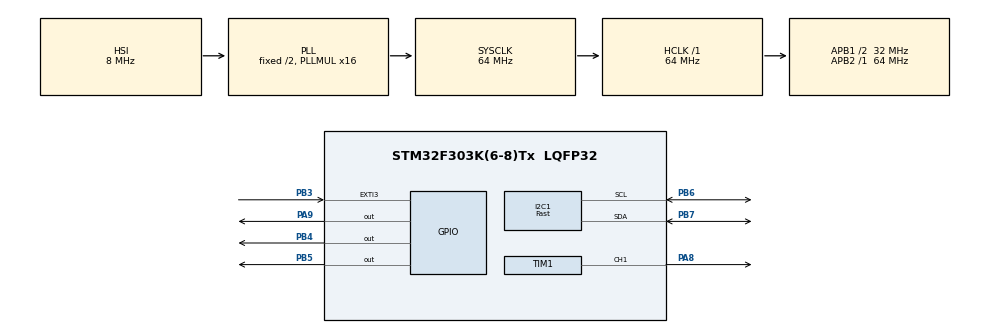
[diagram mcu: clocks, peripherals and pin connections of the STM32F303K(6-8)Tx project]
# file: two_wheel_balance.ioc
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Dma.I2C1_RX.1.Direction=DMA_PERIPH_TO_MEMORY
Dma.I2C1_RX.1.Instance=DMA1_Channel3
Dma.I2C1_RX.1.MemDataAlignment=DMA_MDATAALIGN_BYTE
Dma.I2C1_RX.1.MemInc=DMA_MINC_ENABLE
Dma.I2C1_RX.1.Mode=DMA_NORMAL
Dma.I2C1_RX.1.PeriphDataAlignment=DMA_PDATAALIGN_BYTE
Dma.I2C1_RX.1.PeriphInc=DMA_PINC_DISABLE
Dma.I2C1_RX.1.Priority=DMA_PRIORITY_LOW
Dma.I2C1_TX.0.Direction=DMA_MEMORY_TO_PERIPH
Dma.I2C1_TX.0.Instance=DMA1_Channel4
Dma.I2C1_TX.0.MemDataAlignment=DMA_MDATAALIGN_BYTE
Dma.I2C1_TX.0.MemInc=DMA_MINC_ENABLE
Dma.I2C1_TX.0.Mode=DMA_NORMAL
Dma.I2C1_TX.0.PeriphDataAlignment=DMA_PDATAALIGN_BYTE
Dma.I2C1_TX.0.PeriphInc=DMA_PINC_DISABLE
Dma.I2C1_TX.0.Priority=DMA_PRIORITY_LOW
Dma.Request0=I2C1_TX
Dma.Request1=I2C1_RX
Dma.Request2=TIM1_CH1
Dma.TIM1_CH1.2.Direction=DMA_PERIPH_TO_MEMORY
Dma.TIM1_CH1.2.Instance=DMA1_Channel2
Dma.TIM1_CH1.2.MemDataAlignment=DMA_MDATAALIGN_HALFWORD
Dma.TIM1_CH1.2.MemInc=DMA_MINC_ENABLE
Dma.TIM1_CH1.2.Mode=DMA_CIRCULAR
Dma.TIM1_CH1.2.PeriphDataAlignment=DMA_PDATAALIGN_HALFWORD
Dma.TIM1_CH1.2.PeriphInc=DMA_PINC_DISABLE
Dma.TIM1_CH1.2.Priority=DMA_PRIORITY_LOW
I2C1.I2C_Speed_Mode=I2C_Fast
I2C1.Timing=0x0010020A
Mcu.Family=STM32F3
Mcu.Name=STM32F303K(6-8)Tx
Mcu.Package=LQFP32
NVIC.DMA1_Channel2_IRQn=true\:0\:0\:false\:false\:true\:false\:true\:true
NVIC.DMA1_Channel3_IRQn=true\:0\:0\:false\:false\:true\:false\:true\:true
NVIC.DMA1_Channel4_IRQn=true\:0\:0\:false\:false\:true\:false\:true\:true
NVIC.EXTI3_IRQn=true\:0\:0\:false\:false\:true\:true\:true\:true
NVIC.I2C1_EV_IRQn=true\:0\:0\:false\:false\:true\:true\:true\:true
NVIC.PriorityGroup=NVIC_PRIORITYGROUP_4
PA13.Mode=Serial_Wire
PA13.Signal=SYS_JTMS-SWDIO
PA14.Mode=Serial_Wire
PA14.Signal=SYS_JTCK-SWCLK
PA8.Signal=S_TIM1_CH1
PA9.Signal=GPIO_Output
PB3.Signal=GPXTI3
PB4.Signal=GPIO_Output
PB5.Signal=GPIO_Output
PB6.GPIO_Pu=GPIO_PULLUP
PB6.Mode=I2C
PB6.Signal=I2C1_SCL
PB7.GPIO_Pu=GPIO_PULLUP
PB7.Mode=I2C
PB7.Signal=I2C1_SDA
ProjectManager.HeapSize=0x200
ProjectManager.StackSize=0x400
ProjectManager.TargetToolchain=STM32CubeIDE
RCC.AHBFreq_Value=64000000
RCC.APB1CLKDivider=RCC_HCLK_DIV2
RCC.APB1Freq_Value=32000000
RCC.APB1TimFreq_Value=64000000
RCC.APB2Freq_Value=64000000
RCC.APB2TimFreq_Value=64000000
RCC.CortexFreq_Value=64000000
RCC.HCLKFreq_Value=64000000
RCC.HSE_VALUE=8000000
RCC.HSI_VALUE=8000000
RCC.PLLMUL=RCC_PLL_MUL16
RCC.SYSCLKFreq_VALUE=64000000
RCC.SYSCLKSourceVirtual=RCC_SYSCLKSOURCE_PLLCLK
SH.S_TIM1_CH1.0=TIM1_CH1,PWM Generation1 CH1
TIM1.Channel-PWM\ Generation1\ CH1=TIM_CHANNEL_1
TIM1.Period=999
TIM1.Prescaler=3
board=custom

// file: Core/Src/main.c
/* USER CODE BEGIN Header */
/**
 ******************************************************************************
 * @file           : main.c
 * @brief          : Main program body
 ******************************************************************************
 * @attention
 *
 * Copyright (c) 2025 STMicroelectronics.
 * All rights reserved.
 *
 * This software is licensed under terms that can be found in the LICENSE file
 * in the root directory of this software component.
 * If no LICENSE file comes with this software, it is provided AS-IS.
 *
 ******************************************************************************
 */
/* USER CODE END Header */
#include "main.h"

/* USER CODE BEGIN Includes */
#include <string.h>
#include <stdlib.h>
#include <math.h>
#include <stm32f3xx_hal_cortex.h>
#include "arm_math.h"
/* USER CODE END Includes */

/* USER CODE BEGIN PTD */
typedef struct
{ //struct to extract and organize sensor readings. Interestingly enough, having the struct seems to make code
//faster because these variables are in contiguous blocks of memory.

	//buffers to extract data from sensor with i2c interface
	uint8_t accel_x_buf[2]; //extracting data without FIFO to compare results with FIFO
	uint8_t accel_y_buf[2];
	uint8_t accel_z_buf[2];
	uint8_t gyro_x_buf[2];
	uint8_t gyro_y_buf[2];
	uint8_t gyro_z_buf[2];

	//raw data from mpu6050 sensor, every 4096 counts is 1g when using +/- 8g mode (which we are using for this project in particular).
	int16_t accel_x;
	int16_t accel_y;
	int16_t accel_z;
	int16_t gyro_x;
	int16_t gyro_y;
	int16_t gyro_z;

	//processed data calculated from raw values, not as accurate as the kalman_angle from kalman filter
	float32_t yaw; //euler angles in degrees
	float32_t pitch;
	float32_t roll;

	float32_t wx; //angular velocities
	float32_t wy;
	float32_t wz;
} mpu6050_sensor_data;

typedef struct
{
	//struct to store data and calculations used in kalman filter

	//state space matrices
	float32_t matrix_A[4][4]; //state transition matrix
	float32_t matrix_B[4][1];
	float32_t matrix_xp[4][1];	//euler parameters (quaternion), the predicted state of the system
	float32_t matrix_x[4][1]; //state of kalman filter, used to output final filtered measurement of kalman filter

	float32_t matrix_H[4][4]; //observation matrix, how x matrix (the state) relates to the output/measurement z
	float32_t matrix_z[4][1]; //combined measured output of kalman filter and accelerometer tilt data

	float32_t matrix_Q[4][4]; //covariance matrix of process noise/disturbance
	float32_t matrix_R[4][4]; //covariance matrix of measurement noise
	float32_t matrix_Pp[4][4]; //predicted error covariance
	float32_t matrix_P[4][4]; //estimated error covariance

	float32_t matrix_K[4][4]; //Kalman gain

	//arm instances
	arm_matrix_instance_f32 matrix_A_arm;
	arm_matrix_instance_f32 matrix_B_arm;
	arm_matrix_instance_f32 matrix_xp_arm;
	arm_matrix_instance_f32 matrix_x_arm;
	arm_matrix_instance_f32 matrix_H_arm;
	arm_matrix_instance_f32 matrix_z_arm;
	arm_matrix_instance_f32 matrix_Q_arm;
	arm_matrix_instance_f32 matrix_R_arm;
	arm_matrix_instance_f32 matrix_Pp_arm;
	arm_matrix_instance_f32 matrix_P_arm;
	arm_matrix_instance_f32 matrix_K_arm;

	//euler angles, measurements used to fill z matrix in later on, which is used in kalman estimation step
	float32_t yaw_z;
	float32_t pitch_z;
	float32_t roll_z;

	//euler angles, output of kalman filter, should be more accurate than yaw, pitch, roll of sensor_data
	float32_t kalman_yaw;
	float32_t kalman_pitch;
	float32_t kalman_roll;

} kalman_filter;
typedef struct
{
	//cannot set values here since no memory allocated in declaration
	float Ts; //sampling time
	float proportional_gain;
	float integral_gain;
	float derivative_gain;

	float tau; // 1/(cutoff frequency of low pass filter after derivative component)

	float proportional_out;
	float integral_out;
	float derivative_out;

	float32_t error; //error is signed
	float32_t measured_pos;

	float total_out;
	float out_max;
	float out_min;
} pid_controller;
/* USER CODE END PTD */

/* USER CODE BEGIN PD */
//for I2C
#define MPU6050_ADDR_LSL1	0xD0

//for PID
#define SENSOR_HISTORY_LEN	3 //PID only needs 3 max since it is at most second order
/* USER CODE END PD */

I2C_HandleTypeDef hi2c1;
DMA_HandleTypeDef hdma_i2c1_tx;
DMA_HandleTypeDef hdma_i2c1_rx;

TIM_HandleTypeDef htim1;
DMA_HandleTypeDef hdma_tim1_ch1;

/* USER CODE BEGIN PV */
uint8_t i2c_RX_done = 0;
uint8_t i2c_TX_done = 0;
uint8_t data_ready = 0; //accelerometer data ready interrupt

uint8_t receive_buffer[20]; //received message buffer, randomly used

const float32_t dt = .004;

//setup storage for data
mpu6050_sensor_data sensor_data_1;
kalman_filter filter1;

//setup PID controller
pid_controller motor_controller;

//initialize pitch in degrees
float32_t pitch_adjusted_in_degrees = 0; //upright position will be 90 degrees instead of 0
/* USER CODE END PV */

void SystemClock_Config(void);
static void MX_GPIO_Init(void);
static void MX_DMA_Init(void);
static void MX_I2C1_Init(void);
static void MX_TIM1_Init(void);
/* USER CODE BEGIN PFP */
HAL_StatusTypeDef i2c_Write_Accelerometer(I2C_HandleTypeDef *hi2c, uint16_t DevAddress, uint8_t MemAddress, uint8_t *pData, uint16_t len); // <-- Add this line here
HAL_StatusTypeDef i2c_Read_Accelerometer(I2C_HandleTypeDef *hi2c, uint16_t DevAddress, uint8_t regAddress, uint8_t *pData, uint16_t len);

//functions that communicate to the physical sensor using i2c interface
void mpu6050_init(I2C_HandleTypeDef *hi2c);
void mpu6050_get_raw_measurements(I2C_HandleTypeDef *hi2c, mpu6050_sensor_data *sensor_data);

//functions that modify sensor_data instances
void sensor_data_init(mpu6050_sensor_data *sensor_data); //sets yaw, pitch, roll to 0, 0, 0
void calc_accelerometer_tilt(mpu6050_sensor_data *sensor_data); //changes pitch and roll according to accelerometer tilt. Basically injects accelerometer data into kalman filter.

//modifies kalman filter instances
void kalman_filter_init(kalman_filter *filter); //sets initial kalman filter yaw, pitch, roll outputs to 0, 0, 0
void get_kalman_prediction(kalman_filter *filter, mpu6050_sensor_data *sensor_data);
void compute_kalman_gain(kalman_filter *filter);
void get_kalman_estimate(kalman_filter *filter, mpu6050_sensor_data *sensor_data);
void update_kalman_filter(kalman_filter *filter, mpu6050_sensor_data *sensor_data);
void update_ypr(kalman_filter *filter);

//PID control related functions
void initialize_PID(pid_controller *controller, uint16_t updated_measured_pos);
void set_gains_PID(pid_controller *controller, float Kp, float Ki, float Kd);
void update_PID(pid_controller *controller, float updated_measured_pos, float set_point);
void update_motor_input(int16_t new_out, uint32_t **active_buffer, uint32_t **inactive_buffer);
/* USER CODE END PFP */

int main(void)
{

	/* MCU Configuration--------------------------------------------------------*/

	/* Reset of all peripherals, Initializes the Flash interface and the Systick. */

	HAL_Init();

	/* Configure the system clock */
	SystemClock_Config();

	/* Initialize all configured peripherals */
	MX_GPIO_Init();
	MX_DMA_Init();
	MX_I2C1_Init();
	MX_TIM1_Init();
	/* USER CODE BEGIN 2 */

	//HAL i2c notes:
	//address of MPU6050 device is 1101000, but we shift it to left because the transmit and receive functions require that. So we are left with 0xD0
	//Argument to right of MPU6050_ADDR_LSL1 is the register address, see the register description in onenote.
	uint8_t reg_addr[1];
	/* We compute the MSB and LSB parts of the memory address */
	reg_addr[0] = (uint8_t) (0x6A);

	//delay for init functions to see if it stops glitch of i2c transmission never completing
	HAL_Delay(1000);
	HAL_GPIO_TogglePin(GPIOA, GPIO_PIN_9);
	HAL_Delay(100);
	HAL_GPIO_TogglePin(GPIOA, GPIO_PIN_9);
	HAL_Delay(100);
	HAL_GPIO_TogglePin(GPIOA, GPIO_PIN_9);
	HAL_Delay(100);
	HAL_GPIO_TogglePin(GPIOA, GPIO_PIN_9);

	//test if transmission works
	HAL_StatusTypeDef returnValue = HAL_I2C_Master_Transmit_DMA(&hi2c1, MPU6050_ADDR_LSL1, reg_addr, 1);
	while (HAL_I2C_GetState(&hi2c1) != HAL_I2C_STATE_READY);
	if (returnValue != HAL_OK)
	{
		Error_Handler();
	}
	if (__HAL_DMA_GET_FLAG(&hdma_i2c1_tx, (0x00000002U)))
	{ // Transfer error
		printf("DMA Transfer Error\n");
		// Handle error here
	}
	HAL_DMA_IRQHandler(&hdma_i2c1_tx);
	while (!i2c_TX_done);
	i2c_TX_done = 0;

	//setup storage for data
	mpu6050_init(&hi2c1); //write to registers in mpu6050 to configure initial settings
	// moved to private variables to see values of attributes in structs in debug mode easier
	//	mpu6050_sensor_data sensor_data_1;
	//	kalman_filter filter1;

	//define starting position
	sensor_data_init(&sensor_data_1); //likely not necessary
	kalman_filter_init(&filter1); //necessary

	//Initialize PWM
	//creating two buffers for a single motor. When changing speed, can update the inactive buffer and swap it with the active buffer
	//to avoid two devices trying to write to the same buffer.
	volatile uint32_t bufferA = 400; //out of 999, determines on time of PWM signal
	volatile uint32_t bufferB = 750;
	volatile uint32_t *active_buffer = &bufferA;
	volatile uint32_t *inactive_buffer = &bufferB;
	HAL_TIM_PWM_Start_DMA(&htim1, TIM_CHANNEL_1, (uint32_t*) active_buffer, 1); //send the pulse to the timer peripheral, which determines duty cycle

	//setup PID controller
	// pid_controller motor_controller; // moved to private variables to see values of attributes in structs in debug mode easier
	initialize_PID(&motor_controller, 90); //assume 90 degrees is start position (upright)
	//set_gains_PID(&motor_controller, 69, 200, .1); //RED MOTOR (also works for yellow but less aggressive)
	//set_gains_PID(&motor_controller, 78, 0, .01); //RED MOTOR (also works for yellow but less aggressive)
	//set_gains_PID(&motor_controller, 60, 0, .005);
	//set_gains_PID(&motor_controller, 30, 0, .3);	//1khz pwm, doesnt work
	//set_gains_PID(&motor_controller, 62, 0, .85); //works on carpet //6.39 V on power supply
	//set_gains_PID(&motor_controller, 80, 35, .6); //6.39 V on power supply, cant recover from big angles
	//set_gains_PID(&motor_controller, 60, 0, 0); //7.35 V on power supply, gave up
	//set_gains_PID(&motor_controller, 10, 1, .06); //7.35 V on power supply, motor deadband compensation
	//set_gains_PID(&motor_controller, 50, 30, 5); //3
	//set_gains_PID(&motor_controller, 70, 50, 0.1); //3
	//set_gains_PID(&motor_controller, 53.7, 5, 0.03);// last small whee version fail
	set_gains_PID(&motor_controller, 53.7, 100, 0.7);//working small wheel version I believe
	//set_gains_PID(&motor_controller, 28, 100, 2); //3d printed wheels
	//set_gains_PID(&motor_controller, 27, 90, 1.1); //3d printed wheels
	/* USER CODE END 2 */

	/* Infinite loop */
	/* USER CODE BEGIN WHILE */
	while (1)
	{
		if (data_ready)
		{
			HAL_NVIC_DisableIRQ(EXTI4_IRQn);
			HAL_GPIO_TogglePin(GPIOA, GPIO_PIN_9);
			//get accelerometer and gyro data and store in struct.
			//reading without FIFO, IMPORTANT: if using interrupt to synchronize, need a series resistor between interrupt pin on sensor and EXTI pin. Helps to form low pass filter to dampen voltage spikes that mess up the i2c bus and probably more importantly decrease current that could drive SDA pin low.
			mpu6050_get_raw_measurements(&hi2c1, &sensor_data_1);
			//get tilt measurement from accelerometer, pitch and roll only
			calc_accelerometer_tilt(&sensor_data_1);
			//get estimate(output of b0,b1,b2,b3 euler parameters) from kalman filter
			update_kalman_filter(&filter1, &sensor_data_1);

			//get pitch
			pitch_adjusted_in_degrees = filter1.kalman_pitch * 180 / M_PI + 90; //upright position will be 90 degrees instead of 0

			//update PID output
			update_PID(&motor_controller, pitch_adjusted_in_degrees, 90);

			//update PWM signal to motors
			update_motor_input((int16_t) motor_controller.total_out, &active_buffer, &inactive_buffer); //make output whole number since pwm requires it

			data_ready = 0;
			HAL_GPIO_TogglePin(GPIOA, GPIO_PIN_9);
			HAL_NVIC_EnableIRQ(EXTI4_IRQn);
		}

		/* USER CODE END WHILE */

	}
}

void SystemClock_Config(void)
{
	RCC_OscInitTypeDef RCC_OscInitStruct = {0};
	RCC_ClkInitTypeDef RCC_ClkInitStruct = {0};
	RCC_PeriphCLKInitTypeDef PeriphClkInit = {0};

	/** Initializes the RCC Oscillators according to the specified parameters
	 * in the RCC_OscInitTypeDef structure.
	 */
	RCC_OscInitStruct.OscillatorType = RCC_OSCILLATORTYPE_HSI;
	RCC_OscInitStruct.HSIState = RCC_HSI_ON;
	RCC_OscInitStruct.HSICalibrationValue = RCC_HSICALIBRATION_DEFAULT;
	RCC_OscInitStruct.PLL.PLLState = RCC_PLL_ON;
	RCC_OscInitStruct.PLL.PLLSource = RCC_PLLSOURCE_HSI;
	RCC_OscInitStruct.PLL.PLLMUL = RCC_PLL_MUL16;
	if (HAL_RCC_OscConfig(&RCC_OscInitStruct) != HAL_OK)
	{
		Error_Handler();
	}

	/** Initializes the CPU, AHB and APB buses clocks
	 */
	RCC_ClkInitStruct.ClockType = RCC_CLOCKTYPE_HCLK | RCC_CLOCKTYPE_SYSCLK
			| RCC_CLOCKTYPE_PCLK1 | RCC_CLOCKTYPE_PCLK2;
	RCC_ClkInitStruct.SYSCLKSource = RCC_SYSCLKSOURCE_PLLCLK;
	RCC_ClkInitStruct.AHBCLKDivider = RCC_SYSCLK_DIV1;
	RCC_ClkInitStruct.APB1CLKDivider = RCC_HCLK_DIV2;
	RCC_ClkInitStruct.APB2CLKDivider = RCC_HCLK_DIV1;

	if (HAL_RCC_ClockConfig(&RCC_ClkInitStruct, FLASH_LATENCY_2) != HAL_OK)
	{
		Error_Handler();
	}
	PeriphClkInit.PeriphClockSelection = RCC_PERIPHCLK_I2C1 | RCC_PERIPHCLK_TIM1;
	PeriphClkInit.I2c1ClockSelection = RCC_I2C1CLKSOURCE_HSI;
	PeriphClkInit.Tim1ClockSelection = RCC_TIM1CLK_HCLK;
	if (HAL_RCCEx_PeriphCLKConfig(&PeriphClkInit) != HAL_OK)
	{
		Error_Handler();
	}
}

static void MX_I2C1_Init(void)
{

	hi2c1.Instance = I2C1;
	hi2c1.Init.Timing = 0x0010020A;
	hi2c1.Init.OwnAddress1 = 0;
	hi2c1.Init.AddressingMode = I2C_ADDRESSINGMODE_7BIT;
	hi2c1.Init.DualAddressMode = I2C_DUALADDRESS_DISABLE;
	hi2c1.Init.OwnAddress2 = 0;
	hi2c1.Init.OwnAddress2Masks = I2C_OA2_NOMASK;
	hi2c1.Init.GeneralCallMode = I2C_GENERALCALL_DISABLE;
	hi2c1.Init.NoStretchMode = I2C_NOSTRETCH_DISABLE;
	if (HAL_I2C_Init(&hi2c1) != HAL_OK)
	{
		Error_Handler();
	}

	/** Configure Analogue filter
	 */
	if (HAL_I2CEx_ConfigAnalogFilter(&hi2c1, I2C_ANALOGFILTER_ENABLE) != HAL_OK)
	{
		Error_Handler();
	}

	/** Configure Digital filter
	 */
	if (HAL_I2CEx_ConfigDigitalFilter(&hi2c1, 0) != HAL_OK)
	{
		Error_Handler();
	}

}

static void MX_TIM1_Init(void)
{

	TIM_MasterConfigTypeDef sMasterConfig = {0};
	TIM_OC_InitTypeDef sConfigOC = {0};
	TIM_BreakDeadTimeConfigTypeDef sBreakDeadTimeConfig = {0};

	htim1.Instance = TIM1;
	htim1.Init.Prescaler = 3;
	htim1.Init.CounterMode = TIM_COUNTERMODE_UP;
	htim1.Init.Period = 999;
	htim1.Init.ClockDivision = TIM_CLOCKDIVISION_DIV1;
	htim1.Init.RepetitionCounter = 0;
	htim1.Init.AutoReloadPreload = TIM_AUTORELOAD_PRELOAD_DISABLE;
	if (HAL_TIM_PWM_Init(&htim1) != HAL_OK)
	{
		Error_Handler();
	}
	sMasterConfig.MasterOutputTrigger = TIM_TRGO_RESET;
	sMasterConfig.MasterOutputTrigger2 = TIM_TRGO2_RESET;
	sMasterConfig.MasterSlaveMode = TIM_MASTERSLAVEMODE_DISABLE;
	if (HAL_TIMEx_MasterConfigSynchronization(&htim1, &sMasterConfig) != HAL_OK)
	{
		Error_Handler();
	}
	sConfigOC.OCMode = TIM_OCMODE_PWM1;
	sConfigOC.Pulse = 0;
	sConfigOC.OCPolarity = TIM_OCPOLARITY_HIGH;
	sConfigOC.OCNPolarity = TIM_OCNPOLARITY_HIGH;
	sConfigOC.OCFastMode = TIM_OCFAST_DISABLE;
	sConfigOC.OCIdleState = TIM_OCIDLESTATE_RESET;
	sConfigOC.OCNIdleState = TIM_OCNIDLESTATE_RESET;
	if (HAL_TIM_PWM_ConfigChannel(&htim1, &sConfigOC, TIM_CHANNEL_1) != HAL_OK)
	{
		Error_Handler();
	}
	sBreakDeadTimeConfig.OffStateRunMode = TIM_OSSR_DISABLE;
	sBreakDeadTimeConfig.OffStateIDLEMode = TIM_OSSI_DISABLE;
	sBreakDeadTimeConfig.LockLevel = TIM_LOCKLEVEL_OFF;
	sBreakDeadTimeConfig.DeadTime = 0;
	sBreakDeadTimeConfig.BreakState = TIM_BREAK_DISABLE;
	sBreakDeadTimeConfig.BreakPolarity = TIM_BREAKPOLARITY_HIGH;
	sBreakDeadTimeConfig.BreakFilter = 0;
	sBreakDeadTimeConfig.Break2State = TIM_BREAK2_DISABLE;
	sBreakDeadTimeConfig.Break2Polarity = TIM_BREAK2POLARITY_HIGH;
	sBreakDeadTimeConfig.Break2Filter = 0;
	sBreakDeadTimeConfig.AutomaticOutput = TIM_AUTOMATICOUTPUT_DISABLE;
	if (HAL_TIMEx_ConfigBreakDeadTime(&htim1, &sBreakDeadTimeConfig) != HAL_OK)
	{
		Error_Handler();
	}
	HAL_TIM_MspPostInit(&htim1);

}

static void MX_DMA_Init(void)
{

	/* DMA controller clock enable */
	__HAL_RCC_DMA1_CLK_ENABLE();

	/* DMA interrupt init */
	/* DMA1_Channel2_IRQn interrupt configuration */
	HAL_NVIC_SetPriority(DMA1_Channel2_IRQn, 0, 0);
	HAL_NVIC_EnableIRQ(DMA1_Channel2_IRQn);
	/* DMA1_Channel3_IRQn interrupt configuration */
	HAL_NVIC_SetPriority(DMA1_Channel3_IRQn, 0, 0);
	HAL_NVIC_EnableIRQ(DMA1_Channel3_IRQn);
	/* DMA1_Channel4_IRQn interrupt configuration */
	HAL_NVIC_SetPriority(DMA1_Channel4_IRQn, 0, 0);
	HAL_NVIC_EnableIRQ(DMA1_Channel4_IRQn);

}

static void MX_GPIO_Init(void)
{
	GPIO_InitTypeDef GPIO_InitStruct = {0};

	/* GPIO Ports Clock Enable */
	__HAL_RCC_GPIOA_CLK_ENABLE();
	__HAL_RCC_GPIOB_CLK_ENABLE();

	/*Configure GPIO pin Output Level */
	HAL_GPIO_WritePin(GPIOA, GPIO_PIN_9, GPIO_PIN_RESET);

	/*Configure GPIO pin Output Level */
	HAL_GPIO_WritePin(GPIOB, GPIO_PIN_4 | GPIO_PIN_5, GPIO_PIN_RESET);

	/*Configure GPIO pin : PA9 */
	GPIO_InitStruct.Pin = GPIO_PIN_9;
	GPIO_InitStruct.Mode = GPIO_MODE_OUTPUT_PP;
	GPIO_InitStruct.Pull = GPIO_NOPULL;
	GPIO_InitStruct.Speed = GPIO_SPEED_FREQ_LOW;
	HAL_GPIO_Init(GPIOA, &GPIO_InitStruct);

	/*Configure GPIO pin : PB3 */
	GPIO_InitStruct.Pin = GPIO_PIN_3;
	GPIO_InitStruct.Mode = GPIO_MODE_IT_RISING;
	GPIO_InitStruct.Pull = GPIO_NOPULL;
	HAL_GPIO_Init(GPIOB, &GPIO_InitStruct);

	/*Configure GPIO pins : PB4 PB5 */
	GPIO_InitStruct.Pin = GPIO_PIN_4 | GPIO_PIN_5;
	GPIO_InitStruct.Mode = GPIO_MODE_OUTPUT_PP;
	GPIO_InitStruct.Pull = GPIO_NOPULL;
	GPIO_InitStruct.Speed = GPIO_SPEED_FREQ_LOW;
	HAL_GPIO_Init(GPIOB, &GPIO_InitStruct);

	/* EXTI interrupt init*/
	HAL_NVIC_SetPriority(EXTI3_IRQn, 0, 0);
	HAL_NVIC_EnableIRQ(EXTI3_IRQn);

}

/* USER CODE BEGIN 4 */
HAL_StatusTypeDef i2c_Read_Accelerometer(I2C_HandleTypeDef *hi2c, uint16_t DevAddress, uint8_t regAddress, uint8_t *pData, uint16_t len)
{
	HAL_StatusTypeDef returnValue;
	uint8_t reg_addr[1];

	/* We compute the MSB and LSB parts of the memory address */
	reg_addr[0] = (uint8_t) (regAddress);

	/* First we send the memory location address where start reading data */
	returnValue = HAL_I2C_Master_Seq_Transmit_DMA(hi2c, DevAddress, reg_addr, 1, I2C_FIRST_FRAME);
//	while (!i2c_TX_done);
//	i2c_TX_done = 0;
	while (HAL_I2C_GetState(&hi2c1) != HAL_I2C_STATE_READY);
//	uint32_t i2c_error = HAL_I2C_GetError(&hi2c1);
	/* Next we can retrieve the data from EEPROM */
	returnValue = HAL_I2C_Master_Seq_Receive_DMA(hi2c, DevAddress, pData, len, I2C_LAST_FRAME);
	while (!i2c_RX_done);
	i2c_RX_done = 0;
	return returnValue;
}

HAL_StatusTypeDef i2c_Write_Accelerometer(I2C_HandleTypeDef *hi2c, uint16_t DevAddress, uint8_t regAddress, uint8_t *pData, uint16_t len)
{
	HAL_StatusTypeDef returnValue;
	uint8_t *data;

	data = (uint8_t*) malloc(sizeof(uint8_t) * (1 + len));
	/*We compute the MSB and LSB parts of the memory address*/
	data[0] = (uint8_t) (regAddress);

	/*And copy the content of the pData array in the temporary buffer*/
	memcpy(data + 1, pData, len); //inserts data one slot after the register address

	/*We are now ready to transfer the buffer over the I2C bus*/
	returnValue = HAL_I2C_Master_Transmit_DMA(hi2c, DevAddress, data, len + 1);
	while (!i2c_TX_done);
	i2c_TX_done = 0;
	free(data);
	/*We wait until the Accelerometer effectively stores data*/
	while (HAL_I2C_IsDeviceReady(hi2c, DevAddress, 1, HAL_MAX_DELAY) != HAL_OK); //peripheral can only accept the transmission once it finishes doing what it does

	return HAL_OK;
}
void HAL_I2C_MasterTxCpltCallback(I2C_HandleTypeDef *hi2c)
{
	i2c_TX_done = 1;
}
void HAL_I2C_MasterRxCpltCallback(I2C_HandleTypeDef *hi2c)
{
	i2c_RX_done = 1;
}
void HAL_GPIO_EXTI_Callback(uint16_t GPIO_Pin)
{
	if (GPIO_Pin == GPIO_PIN_3)
	{
		data_ready = 1;
	}
}

void mpu6050_init(I2C_HandleTypeDef *hi2c)
{
	uint8_t command = 0x00;
	i2c_Write_Accelerometer(hi2c, MPU6050_ADDR_LSL1, 0x6B, &command, 1); //turn off sleep mode
	//using FIFO to do burst reads on gyroscope and accelerometer

	i2c_Read_Accelerometer(hi2c, MPU6050_ADDR_LSL1, 0x6B, (uint8_t*) receive_buffer, 1); //PWR_MGMT_1, check if device is asleep, if you see 0x40, it is asleep and every register reads 0

	//Adjust Sample Rate
	i2c_Read_Accelerometer(hi2c, MPU6050_ADDR_LSL1, 0x1A, (uint8_t*) receive_buffer, 1); //check digital low pass filter settings, Gyroscope Output Rate = 8kHz when the DLPF is disabled (DLPF_CFG = 0 or 7), and 1kHz when the DLPF is enabled
	i2c_Read_Accelerometer(hi2c, MPU6050_ADDR_LSL1, 0x19, (uint8_t*) receive_buffer, 1); //check sample rate divider contents
	command = 0x1F; //divide by sample rate divider + 1
	i2c_Write_Accelerometer(hi2c, MPU6050_ADDR_LSL1, 0x19, (uint8_t*) &command, 1); // adjust sample rate divider
	i2c_Read_Accelerometer(hi2c, MPU6050_ADDR_LSL1, 0x19, (uint8_t*) receive_buffer, 1); //check sample rate divider contents

	//initialize/enable FIFO
	command = 0x78; //0b01111000
	i2c_Write_Accelerometer(hi2c, MPU6050_ADDR_LSL1, 0x23, &command, 1); //only enable the gyroscope and accelerometer to be in the FIFO
	i2c_Read_Accelerometer(hi2c, MPU6050_ADDR_LSL1, 0x23, (uint8_t*) receive_buffer, 1); //FIFO_EN contents

	command = 0x00;
	i2c_Write_Accelerometer(hi2c, MPU6050_ADDR_LSL1, 0x6A, (uint8_t*) &command, 1); //disable FIFO in USER_CTRL register
	i2c_Read_Accelerometer(hi2c, MPU6050_ADDR_LSL1, 0x6A, (uint8_t*) receive_buffer, 1); //check USER_CTRL contents, should be 0x00

	command = 0x04;
	i2c_Write_Accelerometer(hi2c, MPU6050_ADDR_LSL1, 0x6A, (uint8_t*) &command, 1); // reset FIFO, must do it when FIFO_EN is off
	i2c_Read_Accelerometer(hi2c, MPU6050_ADDR_LSL1, 0x6A, (uint8_t*) receive_buffer, 1); //check USER_CTRL contents, should be 0x00 still

	i2c_Read_Accelerometer(hi2c, MPU6050_ADDR_LSL1, 0x72, (uint8_t*) receive_buffer, 2); //count items in FIFO

	command = 0x40;
	i2c_Write_Accelerometer(hi2c, MPU6050_ADDR_LSL1, 0x6A, (uint8_t*) &command, 1); //enable FIFO in USER_CTRL register
	i2c_Read_Accelerometer(hi2c, MPU6050_ADDR_LSL1, 0x6A, (uint8_t*) receive_buffer, 1); //USER_CTRL should be 0x40 now
	i2c_Read_Accelerometer(hi2c, MPU6050_ADDR_LSL1, 0x72, (uint8_t*) receive_buffer, 2); //count items in FIFO

	//enable data ready interrupt
	command = 0x11;
	i2c_Write_Accelerometer(hi2c, MPU6050_ADDR_LSL1, 0x38, &command, 1); //enable fifo overflow and data ready interrupt
	i2c_Read_Accelerometer(hi2c, MPU6050_ADDR_LSL1, 0x38, (uint8_t*) receive_buffer, 1); //check INT_ENABLE contents default is 0x00 I believe

	i2c_Read_Accelerometer(hi2c, MPU6050_ADDR_LSL1, 0x3A, (uint8_t*) receive_buffer, 1); //check which interrupt request happened (most important is LSB, DATA_READY_INT)
	i2c_Read_Accelerometer(hi2c, MPU6050_ADDR_LSL1, 0x3A, (uint8_t*) receive_buffer, 1);

	//check if interrupt is open drain or push pull via INT_OPEN setting
	i2c_Read_Accelerometer(hi2c, MPU6050_ADDR_LSL1, 0x37, (uint8_t*) receive_buffer, 1); //be default it is 0, push-pull, no pullup and no pulldown needed

	//Gyro Config
	i2c_Read_Accelerometer(hi2c, MPU6050_ADDR_LSL1, 0x1B, (uint8_t*) receive_buffer, 1); //read GYRO_CONFIG
	command = 0x10;
	i2c_Write_Accelerometer(hi2c, MPU6050_ADDR_LSL1, 0x1B, &command, 1); // +/- 1000 degrees/second full range, each 32.8 counts is 1 degree/second, all selftest off
	i2c_Read_Accelerometer(hi2c, MPU6050_ADDR_LSL1, 0x1B, (uint8_t*) receive_buffer, 1); //read GYRO_CONFIG
	//Accelerometer Config
	i2c_Read_Accelerometer(hi2c, MPU6050_ADDR_LSL1, 0x1C, (uint8_t*) receive_buffer, 1); //read ACCEL_CONFIG
	command = 0x10;
	i2c_Write_Accelerometer(hi2c, MPU6050_ADDR_LSL1, 0x1C, &command, 1); // +/- 8g, every 4096 counts is 1g, all self test off
	i2c_Read_Accelerometer(hi2c, MPU6050_ADDR_LSL1, 0x1C, (uint8_t*) receive_buffer, 1); //read ACCEL_CONFIG
}

void mpu6050_get_raw_measurements(I2C_HandleTypeDef *hi2c, mpu6050_sensor_data *sensor_data)
{
	//get raw data from mpu6050 with i2c interface
	//read without FIFO, IMPORTANT: if using interrupt to synchronize, need a series resistor between interrupt pin on sensor and EXTI pin. Helps to form low pass filter to dampen voltage spikes that mess up the i2c bus and probably more importantly decrease current that could drive SDA pin low.
	i2c_Read_Accelerometer(hi2c, MPU6050_ADDR_LSL1, 0x3B, (uint8_t*) sensor_data->accel_x_buf, 2); //ACCEL_XOUT, 2 bytes
	i2c_Read_Accelerometer(hi2c, MPU6050_ADDR_LSL1, 0x3D, (uint8_t*) sensor_data->accel_y_buf, 2); //ACCEL_YOUT, 2 bytes
	i2c_Read_Accelerometer(hi2c, MPU6050_ADDR_LSL1, 0x3F, (uint8_t*) sensor_data->accel_z_buf, 2); //ACCEL_ZOUT, 2 bytes
	i2c_Read_Accelerometer(hi2c, MPU6050_ADDR_LSL1, 0x43, (uint8_t*) sensor_data->gyro_x_buf, 2); //GYRO_XOUT, 2 bytes
	i2c_Read_Accelerometer(hi2c, MPU6050_ADDR_LSL1, 0x45, (uint8_t*) sensor_data->gyro_y_buf, 2); //GYRO_YOUT, 2 bytes
	i2c_Read_Accelerometer(hi2c, MPU6050_ADDR_LSL1, 0x47, (uint8_t*) sensor_data->gyro_z_buf, 2); //GYRO_ZOUT, 2 bytes
	sensor_data->accel_x = (sensor_data->accel_x_buf[0] << 8) | sensor_data->accel_x_buf[1];
	sensor_data->accel_y = (sensor_data->accel_y_buf[0] << 8) | sensor_data->accel_y_buf[1];
	sensor_data->accel_z = (sensor_data->accel_z_buf[0] << 8) | sensor_data->accel_z_buf[1];
	sensor_data->gyro_x = (sensor_data->gyro_x_buf[0] << 8) | sensor_data->gyro_x_buf[1];
	sensor_data->gyro_y = (sensor_data->gyro_y_buf[0] << 8) | sensor_data->gyro_y_buf[1];
	sensor_data->gyro_z = (sensor_data->gyro_z_buf[0] << 8) | sensor_data->gyro_z_buf[1];
}

void sensor_data_init(mpu6050_sensor_data *sensor_data)
{
	//initialize values that will be calculated later anyways, probably not necessary to do
	sensor_data->yaw = 0;
	sensor_data->pitch = 0;
	sensor_data->roll = 0;
}
void calc_accelerometer_tilt(mpu6050_sensor_data *sensor_data)
{
//	sensor_data->pitch = asin((float) sensor_data->accel_x / (float) 4096); //get pitch in radians
//	sensor_data->roll = asin(((float) -sensor_data->accel_y) / (4096 * cos(sensor_data->pitch))) * (180 / M_PI); //get roll and convert to degrees
//	//convert to degrees after using it pitch in previous calculation as radians

	//using radians for sensor data so that it can be passed into Kalman filter as is, the fmin and fmax functions are to clip the inputs to the arcsin function between [-1,1]
	sensor_data->pitch = asin(fmax(-1, fmin(1, (float) sensor_data->accel_x / (float) 4096))); //get pitch in radians
	sensor_data->roll = asin(fmax(-1, fmin(1, ((float) -sensor_data->accel_y) / (4096 * cos(sensor_data->pitch))))); //get roll in radians

	//for the yaw, we use previous quaternion/euler parameter output from kalman filter and convert it to euler angle that is used as yaw
}
void get_euler_parameters(kalman_filter *filter)
{
	float32_t c1 = cos(filter->yaw_z / 2);
	float32_t s1 = sin(filter->yaw_z / 2);
	float32_t c2 = cos(filter->pitch_z / 2);
	float32_t s2 = sin(filter->pitch_z / 2);
	float32_t c3 = cos(filter->roll_z / 2);
	float32_t s3 = sin(filter->roll_z / 2);

	filter->matrix_z[0][0] = c1 * c2 * c3 + s1 * s2 * s3;
	filter->matrix_z[1][0] = c1 * c2 * s3 - s1 * s2 * c3;
	filter->matrix_z[2][0] = c1 * s2 * c3 + s1 * c2 * s3;
	filter->matrix_z[3][0] = s1 * c2 * c3 - c1 * s2 * s3;

}
void kalman_filter_init(kalman_filter *filter)
{
	//define starting position, definately necessary to get first output from kalman filter
	filter->yaw_z = 0;
	filter->pitch_z = 0;
	filter->roll_z = 0;

	filter->kalman_yaw = 0;
	filter->kalman_pitch = 0;
	filter->kalman_roll = 0;

	//initialize constant matrix contents. The A matrix and other matrices are skipped because it changes at every step
	memcpy(&(filter->matrix_B[0][0]), ((float32_t[4][1]){{0}, {0}, {0}, {0}}), 4 * 1 * sizeof(float32_t));
	memcpy(&(filter->matrix_x[0][0]), ((float32_t[4][1]){{1}, {0}, {0}, {0}}), 4 * 1 * sizeof(float32_t)); //previous output of kalman output on first step //quaternion corresponding to yaw, pitch, roll above is {1,0,0,0}

	float32_t temp_val = 1;
	memcpy(&(filter->matrix_H[0][0]), ((float32_t[4][4]){{temp_val, 0, 0, 0}, {0, temp_val, 0, 0}, {0, 0, temp_val, 0}, {0, 0, 0, temp_val}}), 4 * 4 * sizeof(float32_t));

	//set process noise covariance
//	temp_val = 0.08;
	temp_val = 0.1;
	memcpy(&(filter->matrix_Q[0][0]), ((float32_t[4][4]){{temp_val, 0, 0, 0}, {0, temp_val, 0, 0}, {0, 0, temp_val, 0}, {0, 0, 0, temp_val}}), 4 * 4 * sizeof(float32_t));

	//set measurement noise covariance
	//temp_val = 1;
	temp_val = 0.001;
	memcpy(&(filter->matrix_R[0][0]), ((float32_t[4][4]){{temp_val, 0, 0, 0}, {0, temp_val, 0, 0}, {0, 0, temp_val, 0}, {0, 0, 0, temp_val}}), 4 * 4 * sizeof(float32_t));
	temp_val = 1;
	memcpy(&(filter->matrix_P[0][0]), ((float32_t[4][4]){{temp_val, 0, 0, 0}, {0, temp_val, 0, 0}, {0, 0, temp_val, 0}, {0, 0, 0, temp_val}}), 4 * 4 * sizeof(float32_t));

	//initialize arm matrix instances
	arm_mat_init_f32(&filter->matrix_A_arm, 4, 4, &filter->matrix_A[0][0]);
	arm_mat_init_f32(&filter->matrix_B_arm, 4, 1, &filter->matrix_B[0][0]);
	arm_mat_init_f32(&filter->matrix_xp_arm, 4, 1, &filter->matrix_xp[0][0]);
	arm_mat_init_f32(&filter->matrix_x_arm, 4, 1, &filter->matrix_x[0][0]);
	arm_mat_init_f32(&filter->matrix_H_arm, 4, 4, &filter->matrix_H[0][0]);
	arm_mat_init_f32(&filter->matrix_z_arm, 4, 1, &filter->matrix_z[0][0]);
	arm_mat_init_f32(&filter->matrix_Q_arm, 4, 4, &filter->matrix_Q[0][0]);
	arm_mat_init_f32(&filter->matrix_R_arm, 4, 4, &filter->matrix_R[0][0]);
	arm_mat_init_f32(&filter->matrix_Pp_arm, 4, 4, &filter->matrix_Pp[0][0]);
	arm_mat_init_f32(&filter->matrix_P_arm, 4, 4, &filter->matrix_P[0][0]);
	arm_mat_init_f32(&filter->matrix_K_arm, 4, 4, &filter->matrix_K[0][0]);
}
void get_kalman_prediction(kalman_filter *filter, mpu6050_sensor_data *sensor_data)
{
	//do matrix multiplication to predict angular positions state "xp" (a priori estimate)
	arm_status arm_status_temp = arm_mat_mult_f32(&filter->matrix_A_arm, &filter->matrix_x_arm, &filter->matrix_xp_arm);
//	arm_status arm_status_temp = arm_mat_mult_f32(&filter->matrix_A_arm, &filter->matrix_xp_arm, &filter->matrix_Axp_arm);

	//predict error covariance "P"
	arm_status_temp = arm_mat_mult_f32(&filter->matrix_A_arm, &filter->matrix_P_arm, &filter->matrix_Pp_arm); //matrix_Pp_arm = A*P_{k-1}
	float32_t matrix_AT[4][4]; //getting transpose of A matrix
	arm_matrix_instance_f32 matrix_AT_arm;
	arm_mat_init_f32(&matrix_AT_arm, 4, 4, &matrix_AT[0][0]);
	arm_status_temp = arm_mat_trans_f32(&filter->matrix_A_arm, &matrix_AT_arm); //calculate transpose of A
	arm_status_temp = arm_mat_mult_f32(&filter->matrix_Pp_arm, &matrix_AT_arm, &filter->matrix_Pp_arm); //matrix_Pp_arm = A*P_{k-1}*A^{T}
	arm_mat_add_f32(&filter->matrix_Pp_arm, &filter->matrix_Q_arm, &filter->matrix_Pp_arm); //matrix_Pp_arm = A*P_{k-1}*A^{T} + Q = P_{k} (a priori)

}
void compute_kalman_gain(kalman_filter *filter)
{
	float32_t matrix_HT[4][4]; //holds transpose of H matrix
	arm_matrix_instance_f32 matrix_HT_arm;
	arm_mat_init_f32(&matrix_HT_arm, 4, 4, &matrix_HT[0][0]);
	arm_status arm_status_temp = arm_mat_trans_f32(&filter->matrix_H_arm, &matrix_HT_arm); //calculate transpose of H
	arm_status_temp = arm_mat_mult_f32(&filter->matrix_Pp_arm, &matrix_HT_arm, &filter->matrix_K_arm); //matrix_K_arm = P * H_{T}

	float32_t matrix_inv_part[4][4]; //will be equal to inv(H * P_{k} * H^{T} + R)
	arm_matrix_instance_f32 matrix_inv_part_arm;
	arm_mat_init_f32(&matrix_inv_part_arm, 4, 4, &matrix_inv_part[0][0]);
	arm_status_temp = arm_mat_mult_f32(&filter->matrix_H_arm, &filter->matrix_Pp_arm, &matrix_inv_part_arm); //matrix_inv_part_arm = H * P_{k}
	arm_status_temp = arm_mat_mult_f32(&matrix_inv_part_arm, &matrix_HT_arm, &matrix_inv_part_arm); // matrix_inv_part_arm = H * P_{k} * H^{T}
	arm_status_temp = arm_mat_add_f32(&matrix_inv_part_arm, &filter->matrix_R_arm, &matrix_inv_part_arm); // matrix_inv_part_arm = H * P_{k} * H^{T} + R
	arm_status_temp = arm_mat_inverse_f32(&matrix_inv_part_arm, &matrix_inv_part_arm); //matrix_inv_part_arm = inv(H * P_{k} * H^{T} + R)

	arm_status_temp = arm_mat_mult_f32(&filter->matrix_K_arm, &matrix_inv_part_arm, &filter->matrix_K_arm); //matrix_K_arm = P * H_{T} * inv(H * P_{k} * H^{T} + R)
}
void get_kalman_estimate(kalman_filter *filter, mpu6050_sensor_data *sensor_data)
{
	//get estimate of state "x"
	//want x = xp + K*(z - H*xp)
	arm_status arm_status_temp = arm_mat_mult_f32(&filter->matrix_H_arm, &filter->matrix_xp_arm, &filter->matrix_x_arm); //matrix_x_arm = H * xp
	arm_status_temp = arm_mat_sub_f32(&filter->matrix_z_arm, &filter->matrix_x_arm, &filter->matrix_x_arm); //matrix_x_arm = z - H * xp
	arm_status_temp = arm_mat_mult_f32(&filter->matrix_K_arm, &filter->matrix_x_arm, &filter->matrix_x_arm); //matrix_x_arm = K*(z - H * xp)
	arm_status_temp = arm_mat_add_f32(&filter->matrix_xp_arm, &filter->matrix_x_arm, &filter->matrix_x_arm); //matrix_x_arm = xp + K*(z - H * xp)

	//get estimate of error covariance "P"
	arm_status_temp = arm_mat_mult_f32(&filter->matrix_K_arm, &filter->matrix_H_arm, &filter->matrix_P_arm); //matrix_P_matrix = K * H
	arm_status_temp = arm_mat_mult_f32(&filter->matrix_P_arm, &filter->matrix_Pp_arm, &filter->matrix_P_arm); //matrix_P_matrix = K * H * Pp
	arm_status_temp = arm_mat_sub_f32(&filter->matrix_Pp_arm, &filter->matrix_P_arm, &filter->matrix_P_arm); //matrix_P_matrix = Pp - K * H * Pp

}
void update_kalman_filter(kalman_filter *filter, mpu6050_sensor_data *sensor_data)
{
	//update angular velocities in radians
	sensor_data->wx = sensor_data->gyro_x / (float32_t) 1879.301568; //1 degree for every 32.8 counts -> 1 radian for every 1879.301568 counts
	sensor_data->wy = sensor_data->gyro_y / (float32_t) 1879.301568;
	sensor_data->wz = sensor_data->gyro_z / (float32_t) 1879.301568;

	//measurements used to fill z matrix, these euler angles will be converted to quaternion form later. Fusion happens here as output of kalman filter and accelerometer are both used as measurement sources.
	filter->yaw_z = filter->kalman_yaw; //comes from output of kalman filter
	//using pitch and roll from accelerometer measurement to "inject" into kalman filter
	filter->pitch_z = sensor_data->pitch;
	filter->roll_z = sensor_data->roll;

	//update discrete A matrix. Using zero order hold estimation: A_discrete = I + A_analog * dt
	//dt is periods

	/*  A_analog = 1/2*[ 0   -wx  -wy  -wz ;
	 *					 wx   0    wz  -wy ;
	 *					 wy  -wz   0    wx ;
	 *					 wz   wy  -wx   0  ]; */

	const float32_t wx_const = sensor_data->wx;
	const float32_t wy_const = sensor_data->wy;
	const float32_t wz_const = sensor_data->wz;
	float32_t temp_A[4][4] = {{1, -wx_const * dt / 2, -wy_const * dt / 2, -wz_const * dt / 2},
								{wx_const * dt / 2, 1, wz_const * dt / 2, -wy_const * dt / 2},
								{wy_const * dt / 2, -wz_const * dt / 2, 1, wx_const * dt / 2},
								{wz_const * dt / 2, wy_const * dt / 2, -wx_const * dt / 2, 1}};
	memcpy(&(filter->matrix_A[0][0]), &temp_A, 4 * 4 * sizeof(float32_t));

	//update z, the measurements. The measurements are combination of previous kalman filter output (yaw) and accelerometer data (pitch and roll)
	get_euler_parameters(filter);

	get_kalman_prediction(filter, sensor_data);
	compute_kalman_gain(filter);
	get_kalman_estimate(filter, sensor_data);
	update_ypr(filter);
}
void update_ypr(kalman_filter *filter)
{
	//turn quaternion (x) to euler angles (yaw pitch roll)

	float32_t q0 = filter->matrix_x[0][0];
	float32_t q1 = filter->matrix_x[1][0];
	float32_t q2 = filter->matrix_x[2][0];
	float32_t q3 = filter->matrix_x[3][0];

	//update kalman filter final output for timestep
	filter->kalman_yaw = atan2(2 * (q1 * q2 + q0 * q3), q0 * q0 + q1 * q1 - q2 * q2 - q3 * q3);
	filter->kalman_pitch = asin(fmax(-1, fmin(1, -2 * (q1 * q3 - q0 * q2))));
	filter->kalman_roll = atan2(2 * (q2 * q3 + q0 * q1), q0 * q0 - q1 * q1 - q2 * q2 + q3 * q3);

}

//PID control functions
void initialize_PID(pid_controller *controller, uint16_t updated_measured_pos)
{

	controller->Ts = 0.004; //equates to 250Hz
	controller->tau = .1;

	controller->out_max = 1000;
	controller->out_min = -1000;

	controller->proportional_gain = 0;
	controller->integral_gain = 0;
	controller->derivative_gain = 0;

	controller->proportional_out = 0;
	controller->integral_out = 0;
	controller->derivative_out = 0;
	controller->total_out = 0;

	controller->error = 0;
	controller->measured_pos = updated_measured_pos;
}
void set_gains_PID(pid_controller *controller, float Kp, float Ki, float Kd)
{
	controller->proportional_gain = Kp;
	controller->integral_gain = Ki;
	controller->derivative_gain = Kd;
}
void update_PID(pid_controller *controller, float updated_measured_pos, float set_point)
{
	float adjusted_measured_pos = updated_measured_pos;

	float updated_error = set_point - updated_measured_pos;

	//this block makes sure that if the setpoint is near boundaries (0 or 359 degrees), can still approach the setpoint
	//from the direction that has the angle measurement spike from 0 to 359 degrees or 359 to 0 degrees
	//this is done by adjusting the error term
	if (updated_measured_pos > set_point + 180 && set_point < 180)
	{
		adjusted_measured_pos = adjusted_measured_pos - 360;
	}
	else if (updated_measured_pos < set_point - 180 && set_point >= 180)
	{
		adjusted_measured_pos = adjusted_measured_pos + 360;
	}
	updated_error = set_point - adjusted_measured_pos;

	//calculate difference for derivative term, but need to account for when motor goes from 359->0 and 0->359
	//make sure that when it goes 359->0, the difference is 1, and 0->359 is -1
	float32_t position_difference = updated_measured_pos - controller->measured_pos;
	if (position_difference > 300) //when it goes from 0 to 359
	{
		position_difference = position_difference - 360;
	}
	else if (position_difference < -300) //when it goes from 359 to 0
	{
		position_difference = position_difference + 360;
	}

	//updated the outputs of the P, I, and D components of the controller
	controller->proportional_out = controller->proportional_gain * updated_error;
	controller->integral_out = controller->integral_gain * controller->Ts * (updated_error + controller->error) / 2.0 + controller->integral_out;
	controller->derivative_out = ((controller->derivative_gain * 2) * (position_difference) //
	+ (2 * controller->tau - controller->Ts) * controller->derivative_out) / (2 * controller->tau + controller->Ts);
	//note: derivative term uses measured value instead of error term to avoid kick back

//	//Deadzone for Proportional
//	if (updated_measured_pos < 90.05 && updated_measured_pos > 89.95)
//	{
//		controller->proportional_out = 0;
//	}
	//clamp integrator implementation
//	float integral_min, integral_max;
//	//determine integrator limits
//	if (controller->out_max > controller->proportional_out - controller->derivative_out)
//	{
//		integral_max = controller->out_max - controller->proportional_out + controller->derivative_out; //see total_out comment to see why adding derivative term instead of subtracting here
//	}
//	else
//	{
//		integral_max = 0;
//	}
//	if (controller->out_min < controller->proportional_out - controller->derivative_out)
//	{
//		integral_min = controller->out_min - controller->proportional_out + controller->derivative_out; //see total_out comment to see why adding derivative term instead of subtracting here
//	}
//	else
//	{
//		integral_min = 0;
//	}

	//get absolute error
	float32_t absval_error = controller->error;
	if (absval_error < 0)
	{
		absval_error = -1 * absval_error;
	}

//	if (absval_error < 5) //limit integrator even more once closer to desired angle.
//	{
//		integral_max = 600;
//		integral_min = -600;
//	}
//	if (absval_error < 3) //limit integrator even more once closer to desired angle.
//	{
//		integral_max = 300; //RED MOTOR
//		integral_min = -300;
//	}
	//clamping of integrator
//	if (controller->integral_out > integral_max)
//	{
//		controller->integral_out = integral_max;
//	}
//	else if (controller->integral_out < integral_min)
//	{
//		controller->integral_out = integral_min;
//	}

	//compute total output of controller
	controller->total_out = controller->proportional_out + controller->integral_out - controller->derivative_out; //note negative sign on derivative term, this is correct since it is on the feedback loop

	//deadband compensation, make sure to always provide pwm that will allow motor to be spinning.
	if (updated_measured_pos < 90.05 && updated_measured_pos > 89.95)
	{

	}
	else if (controller->total_out > 0)
	{
		controller->total_out += 100;
	}
	else if (controller->total_out < 0)
	{
		controller->total_out -= 100;
	}

	//limit total output of controller
	if (controller->total_out > controller->out_max)
	{
		controller->total_out = controller->out_max;
	}
	else if (controller->total_out < controller->out_min)
	{
		controller->total_out = controller->out_min;
	}

	//updated the error and measured position
	controller->error = updated_error;
	controller->measured_pos = updated_measured_pos;

}
void update_motor_input(int16_t new_out, uint32_t **active_buffer_address, uint32_t **inactive_buffer_address)
{
	if (new_out > 0)
	{
		HAL_GPIO_WritePin(GPIOB, GPIO_PIN_5, GPIO_PIN_RESET);
		HAL_GPIO_WritePin(GPIOB, GPIO_PIN_4, GPIO_PIN_SET);

	}
	else if (new_out < 0)
	{
		HAL_GPIO_WritePin(GPIOB, GPIO_PIN_4, GPIO_PIN_RESET);
		HAL_GPIO_WritePin(GPIOB, GPIO_PIN_5, GPIO_PIN_SET);
		new_out = new_out * -1;
	}

	**inactive_buffer_address = new_out;
	uint32_t *temp_uint32_address = *active_buffer_address;
	*active_buffer_address = *inactive_buffer_address;
	*inactive_buffer_address = temp_uint32_address;

}
/* USER CODE END 4 */

void Error_Handler(void)
{
	__disable_irq();
	while (1)
	{
	}
}
